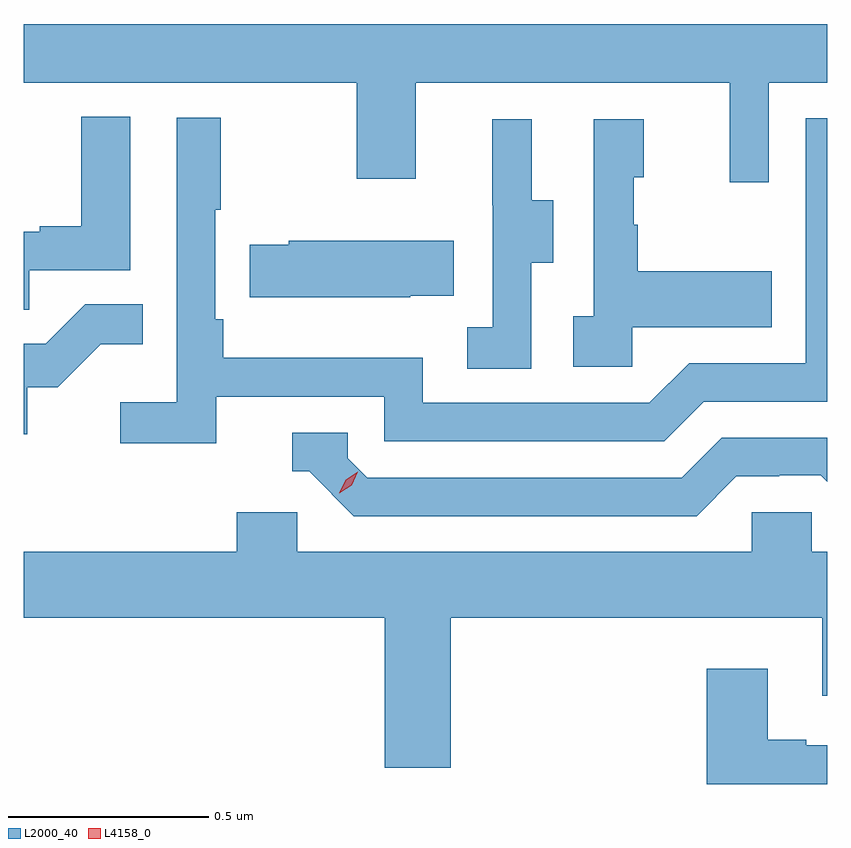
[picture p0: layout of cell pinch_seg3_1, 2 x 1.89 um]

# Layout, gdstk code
import gdstk
lib = gdstk.Library(unit=1e-6, precision=1e-09)
def P(c, l, *ps):  # polygons
    for p in ps: c.add(gdstk.Polygon(p, *l))
L2000_40 = (2000, 40)
L4158_0 = (4158, 0)

pinch_seg3_1 = lib.new_cell('pinch_seg3_1')
P(pinch_seg3_1, L2000_40, [(1136.991,744.872),(1137.137,744.872),(1137.137,745.018),(1135.137,745.018),(1135.137,744.872),(1135.966,744.872),(1135.966,744.633),(1136.113,744.633),(1136.113,744.872),(1136.894,744.872),(1136.894,744.624),(1136.991,744.624)],
  [(1135.151,744.405),(1135.402,744.405),(1135.402,744.787),(1135.28,744.787),(1135.28,744.514),(1135.177,744.514),(1135.177,744.501),(1135.137,744.501),(1135.137,744.307),(1135.151,744.307)],
  [(1135.616,744.09),(1136.034,744.09),(1136.034,743.979),(1136.731,743.979),(1136.83,744.078),(1137.137,744.078),(1137.137,744.783),(1137.084,744.783),(1137.084,744.174),(1136.793,744.174),(1136.694,744.075),(1136.13,744.075),(1136.13,744.187),(1135.634,744.187),(1135.634,744.283),(1135.614,744.283),(1135.614,744.556),(1135.627,744.556),(1135.627,744.784),(1135.518,744.784),(1135.518,744.076),(1135.377,744.076),(1135.377,743.974),(1135.616,743.974)],
  [(1136.4,744.424),(1136.455,744.424),(1136.455,744.579),(1136.401,744.579),(1136.401,744.781),(1136.303,744.781),(1136.303,744.567),(1136.304,744.567),(1136.304,744.263),(1136.241,744.263),(1136.241,744.16),(1136.4,744.16)],
  [(1136.652,744.263),(1136.999,744.263),(1136.999,744.403),(1136.665,744.403),(1136.665,744.518),(1136.655,744.518),(1136.655,744.636),(1136.68,744.636),(1136.68,744.781),(1136.556,744.781),(1136.556,744.29),(1136.505,744.29),(1136.505,744.165),(1136.652,744.165)],
  [(1136.099,744.341),(1136.207,744.341),(1136.207,744.478),(1135.797,744.478),(1135.797,744.468),(1135.699,744.468),(1135.699,744.338),(1136.099,744.338)],
  [(1135.146,744.114),(1135.222,744.114),(1135.329,744.221),(1135.433,744.221),(1135.433,744.32),(1135.29,744.32),(1135.192,744.222),(1135.137,744.222),(1135.137,743.997),(1135.146,743.997)],
  [(1136.911,743.892),(1137.018,743.892),(1137.018,743.895),(1137.121,743.895),(1137.137,743.879),(1137.137,743.988),(1136.874,743.988),(1136.775,743.889),(1135.992,743.889),(1135.944,743.937),(1135.944,744),(1135.805,744),(1135.805,743.904),(1135.848,743.904),(1135.959,743.793),(1136.812,743.793)],
  [(1136.2,743.54),(1137.125,743.54),(1137.125,743.346),(1137.137,743.346),(1137.137,743.704),(1137.099,743.704),(1137.099,743.802),(1136.949,743.802),(1136.949,743.704),(1135.818,743.704),(1135.818,743.802),(1135.667,743.802),(1135.667,743.704),(1135.137,743.704),(1135.137,743.54),(1136.036,743.54),(1136.036,743.166),(1136.2,743.166)],
  [(1137.137,743.223),(1137.085,743.223),(1137.085,743.236),(1136.989,743.236),(1136.989,743.413),(1136.837,743.413),(1136.837,743.126),(1137.137,743.126)])
P(pinch_seg3_1, L4158_0, [(1135.922,743.85),(1135.922,743.85),(1135.938,743.883),(1135.968,743.903),(1135.968,743.903),(1135.968,743.903),(1135.953,743.87),(1135.922,743.85)])

lib.write_gds('pinch_seg3_1.gds')
